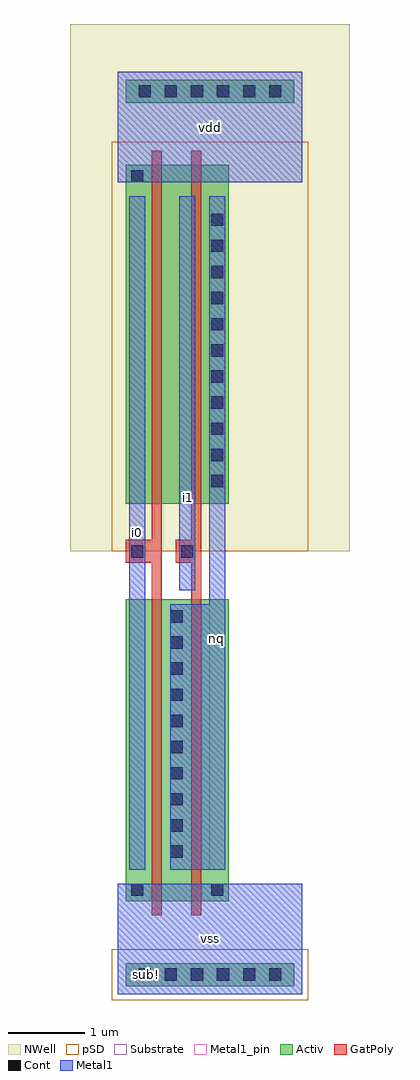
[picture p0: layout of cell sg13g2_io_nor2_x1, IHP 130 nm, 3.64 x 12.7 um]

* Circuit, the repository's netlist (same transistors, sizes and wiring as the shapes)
** sch_path: /home/designer/shared/ihp2603/openpdk-libraries/ihp-sg13g2/sg13g2_io/xschem/sg13g2_io_nor2_x1.sch
.subckt sg13g2_io_nor2_x1 vss i0 nq vdd sub i1
*.PININFO vss:B nq:B i0:B vdd:B sub:B i1:B
R1 vss sub ptap1 A=0.657p P=4.98u
M7 nq i0 vss sub sg13_lv_nmos w=3.93u l=0.13u ng=1 m=1
M8 net1 i0 vdd vdd sg13_lv_pmos w=4.41u l=0.13u ng=1 m=1
M1 nq i1 vss sub sg13_lv_nmos w=3.93u l=0.13u ng=1 m=1
M2 nq i1 net1 vdd sg13_lv_pmos w=4.41u l=0.13u ng=1 m=1
.ends

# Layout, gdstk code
import gdstk
lib = gdstk.Library(unit=1e-6, precision=5e-09)
def R(c, l, rs):  # rectangles x0, y0, x1, y1
    for r in rs: c.add(gdstk.rectangle(r[:2], r[2:], *l))
def A(c, l, x, y, w, h, nx, ny, dx, dy):  # array of equal rectangles
    R(c, l, [(x+i*dx, y+j*dy, x+i*dx+w, y+j*dy+h) for i in range(nx) for j in range(ny)])
def P(c, l, *ps):  # polygons
    for p in ps: c.add(gdstk.Polygon(p, *l))
Activ = (1, 0)
GatPoly = (5, 0)
Cont = (6, 0)
Metal1 = (8, 0)
Metal1_pin = (8, 2)
pSD = (14, 0)
NWell = (31, 0)
Substrate = (40, 0)

sg13g2_io_nor2_x1 = lib.new_cell('sg13g2_io_nor2_x1')
R(sg13g2_io_nor2_x1, Activ, [(0.105,0.105,2.295,0.405), (0.105,1.21,1.445,5.14), (0.105,6.38,1.445,10.79), (0.105,11.595,2.295,11.895)])
P(sg13g2_io_nor2_x1, GatPoly, [(0.955,1.03),(0.955,5.61),(0.755,5.61),(0.755,5.91),(0.955,5.91),(0.955,10.97),(1.085,10.97),(1.085,1.03)],
  [(0.445,1.03),(0.445,5.61),(0.105,5.61),(0.105,5.91),(0.445,5.91),(0.445,10.97),(0.575,10.97),(0.575,1.03)])
A(sg13g2_io_nor2_x1, Cont, 0.27, 0.175, 0.16, 0.16, 6, 2, 0.34, 11.49)
A(sg13g2_io_nor2_x1, Cont, 0.685, 1.775, 0.16, 0.16, 1, 10, 0, 0.34)
A(sg13g2_io_nor2_x1, Cont, 1.215, 6.595, 0.16, 0.16, 1, 11, 0, 0.34)
R(sg13g2_io_nor2_x1, Cont, [(0.175,1.28,0.335,1.44), (1.215,1.28,1.375,1.44), (0.175,5.68,0.335,5.84), (0.825,5.68,0.985,5.84), (0.175,10.56,0.335,10.72)])
R(sg13g2_io_nor2_x1, Metal1, [(0,0,2.4,1.44), (0.15,1.62,0.36,10.38), (0.8,5.255,1.01,10.38), (0,10.56,2.4,12)])
P(sg13g2_io_nor2_x1, Metal1, [(0.685,1.62),(0.685,5.075),(1.19,5.075),(1.19,10.38),(1.4,10.38),(1.4,1.62)])
R(sg13g2_io_nor2_x1, Metal1_pin, [(0,0,2.4,1.44), (0.15,1.62,0.36,10.38), (1.19,1.62,1.4,10.38), (0.8,5.255,1.01,10.38), (0,10.56,2.4,12)])
R(sg13g2_io_nor2_x1, pSD, [(-0.075,-0.075,2.475,0.585), (-0.075,5.76,2.475,11.09)])
R(sg13g2_io_nor2_x1, NWell, [(-0.62,5.76,3.02,12.62)])
R(sg13g2_io_nor2_x1, Substrate, [(0.105,0.105,2.295,0.405)])
sg13g2_io_nor2_x1.add(gdstk.Label('sub!', (0.37,0.26), layer=63, texttype=0))
sg13g2_io_nor2_x1.add(gdstk.Label('i1', (0.92,6.455), layer=8, texttype=25))
sg13g2_io_nor2_x1.add(gdstk.Label('nq', (1.28,4.63), layer=8, texttype=25))
sg13g2_io_nor2_x1.add(gdstk.Label('i0', (0.255,6), layer=8, texttype=25))
sg13g2_io_nor2_x1.add(gdstk.Label('vdd', (1.2,11.28), layer=8, texttype=25))
sg13g2_io_nor2_x1.add(gdstk.Label('vss', (1.2,0.72), layer=8, texttype=25))

lib.write_gds('sg13g2_io_nor2_x1.gds')
